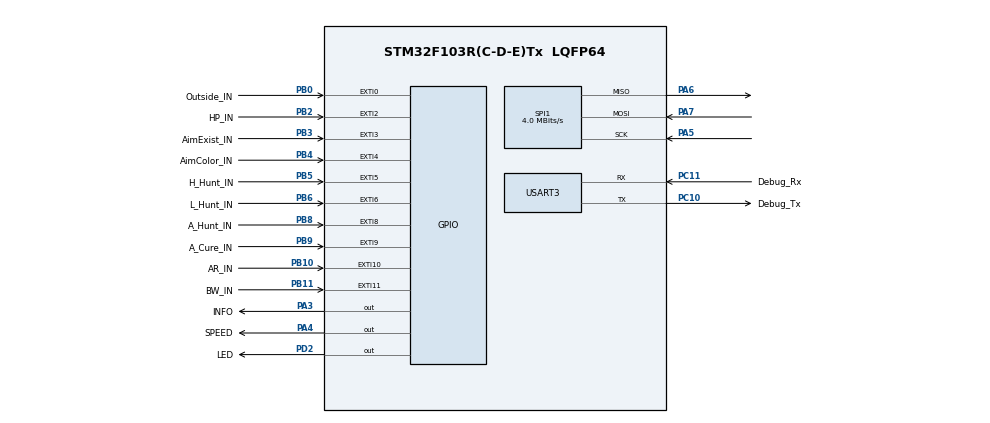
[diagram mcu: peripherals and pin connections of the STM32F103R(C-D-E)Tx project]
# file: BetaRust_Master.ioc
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Dma.Request0=SPI1_RX
Dma.Request1=SPI1_TX
Dma.SPI1_RX.0.Direction=DMA_PERIPH_TO_MEMORY
Dma.SPI1_RX.0.Instance=DMA1_Channel2
Dma.SPI1_RX.0.MemDataAlignment=DMA_MDATAALIGN_BYTE
Dma.SPI1_RX.0.MemInc=DMA_MINC_ENABLE
Dma.SPI1_RX.0.Mode=DMA_NORMAL
Dma.SPI1_RX.0.PeriphDataAlignment=DMA_PDATAALIGN_BYTE
Dma.SPI1_RX.0.PeriphInc=DMA_PINC_DISABLE
Dma.SPI1_RX.0.Priority=DMA_PRIORITY_LOW
Dma.SPI1_TX.1.Direction=DMA_MEMORY_TO_PERIPH
Dma.SPI1_TX.1.Instance=DMA1_Channel3
Dma.SPI1_TX.1.MemDataAlignment=DMA_MDATAALIGN_BYTE
Dma.SPI1_TX.1.MemInc=DMA_MINC_ENABLE
Dma.SPI1_TX.1.Mode=DMA_NORMAL
Dma.SPI1_TX.1.PeriphDataAlignment=DMA_PDATAALIGN_BYTE
Dma.SPI1_TX.1.PeriphInc=DMA_PINC_DISABLE
Dma.SPI1_TX.1.Priority=DMA_PRIORITY_LOW
Mcu.Family=STM32F1
Mcu.Name=STM32F103R(C-D-E)Tx
Mcu.Package=LQFP64
NVIC.DMA1_Channel2_IRQn=true\:0\:0\:false\:false\:true
NVIC.DMA1_Channel3_IRQn=true\:0\:0\:false\:false\:true
NVIC.PriorityGroup=NVIC_PRIORITYGROUP_4
PA13.Mode=Serial_Wire
PA13.Signal=SYS_JTMS-SWDIO
PA14.Mode=Serial_Wire
PA14.Signal=SYS_JTCK-SWCLK
PA3.GPIO_Label=INFO
PA3.Signal=GPIO_Output
PA4.GPIO_Label=SPEED
PA4.Signal=GPIO_Output
PA5.Mode=Full_Duplex_Slave
PA5.Signal=SPI1_SCK
PA6.Mode=Full_Duplex_Slave
PA6.Signal=SPI1_MISO
PA7.Mode=Full_Duplex_Slave
PA7.Signal=SPI1_MOSI
PB0.GPIO_Label=Outside_IN
PB0.Signal=GPXTI0
PB10.GPIO_Label=AR_IN
PB10.Signal=GPXTI10
PB11.GPIO_Label=BW_IN
PB11.Signal=GPXTI11
PB2.GPIO_Label=HP_IN
PB2.Signal=GPXTI2
PB3.GPIO_Label=AimExist_IN
PB3.Signal=GPXTI3
PB4.GPIO_Label=AimColor_IN
PB4.Signal=GPXTI4
PB5.GPIO_Label=H_Hunt_IN
PB5.Signal=GPXTI5
PB6.GPIO_Label=L_Hunt_IN
PB6.Signal=GPXTI6
PB8.GPIO_Label=A_Hunt_IN
PB8.Signal=GPXTI8
PB9.GPIO_Label=A_Cure_IN
PB9.Signal=GPXTI9
PC10.GPIO_Label=Debug_Tx
PC10.Mode=Asynchronous
PC10.Signal=USART3_TX
PC11.GPIO_Label=Debug_Rx
PC11.Mode=Asynchronous
PC11.Signal=USART3_RX
PD2.GPIO_Label=LED
PD2.Signal=GPIO_Output
ProjectManager.HeapSize=0x200
ProjectManager.StackSize=0x400
ProjectManager.TargetToolchain=MDK-ARM V5
RCC.APB1Freq_Value=8000000
RCC.APB2Freq_Value=8000000
SPI1.CalculateBaudRate=4.0 MBits/s
SPI1.VirtualType=VM_SLAVE
board=BetaRust_Master

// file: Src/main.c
/**
  ******************************************************************************
  * File Name          : main.c
  * Description        : Main program body
  ******************************************************************************
  *
  * COPYRIGHT(c) 2016 STMicroelectronics
  *
  * Redistribution and use in source and binary forms, with or without modification,
  * are permitted provided that the following conditions are met:
  *   1. Redistributions of source code must retain the above copyright notice,
  *      this list of conditions and the following disclaimer.
  *   2. Redistributions in binary form must reproduce the above copyright notice,
  *      this list of conditions and the following disclaimer in the documentation
  *      and/or other materials provided with the distribution.
  *   3. Neither the name of STMicroelectronics nor the names of its contributors
  *      may be used to endorse or promote products derived from this software
  *      without specific prior written permission.
  *
  * THIS SOFTWARE IS PROVIDED BY THE COPYRIGHT HOLDERS AND CONTRIBUTORS "AS IS"
  * AND ANY EXPRESS OR IMPLIED WARRANTIES, INCLUDING, BUT NOT LIMITED TO, THE
  * IMPLIED WARRANTIES OF MERCHANTABILITY AND FITNESS FOR A PARTICULAR PURPOSE ARE
  * DISCLAIMED. IN NO EVENT SHALL THE COPYRIGHT HOLDER OR CONTRIBUTORS BE LIABLE
  * FOR ANY DIRECT, INDIRECT, INCIDENTAL, SPECIAL, EXEMPLARY, OR CONSEQUENTIAL
  * DAMAGES (INCLUDING, BUT NOT LIMITED TO, PROCUREMENT OF SUBSTITUTE GOODS OR
  * SERVICES; LOSS OF USE, DATA, OR PROFITS; OR BUSINESS INTERRUPTION) HOWEVER
  * CAUSED AND ON ANY THEORY OF LIABILITY, WHETHER IN CONTRACT, STRICT LIABILITY,
  * OR TORT (INCLUDING NEGLIGENCE OR OTHERWISE) ARISING IN ANY WAY OUT OF THE USE
  * OF THIS SOFTWARE, EVEN IF ADVISED OF THE POSSIBILITY OF SUCH DAMAGE.
  *
  ******************************************************************************
  */
#include "stm32f1xx_hal.h"
#include "dma.h"
#include "spi.h"
#include "usart.h"
#include "gpio.h"

/* USER CODE BEGIN Includes */
#undef TRUE
#undef FALSE
#define TRUE GPIO_PIN_SET
#define FALSE GPIO_PIN_RESET
#undef BOOL
#define BOOL GPIO_PinState

#define _READ_(X) HAL_GPIO_ReadPin(GPIOB,X)
#define A_CURE _READ_(A_Cure_IN_Pin)
#define A_HURT _READ_(A_Hunt_IN_Pin)
#define L_HURT _READ_(L_Hunt_IN_Pin)
#define H_HURT _READ_(H_Hunt_IN_Pin)
#define COLOR  _READ_(AimColor_IN_Pin)
#define EXIST  _READ_(AimExist_IN_Pin)
#define OUT    _READ_(Outside_IN_Pin)
#define HP     _READ_(HP_IN_Pin)
#define BW     _READ_(BW_IN_Pin)
#define AIR    _READ_(AR_IN_Pin)
/* USER CODE END Includes */

/* USER CODE BEGIN PV */
/* Private variables ---------------------------------------------------------*/
uint8_t _speed[4]={0xAB,0,0,0xCD};
uint8_t _buffer[17];
typedef struct _Point{
	signed int x,y;
}Point;
typedef struct _Player{
	Point pos;
	uint8_t hp;
}Player;
typedef struct _Status{
	Player me;
	Player opponent;
	Point aim;
	Point plane;
	Point tools;
	Point vec;
	uint8_t valid;
}Status;

/* USER CODE END PV */

void SystemClock_Config(void);
void Error_Handler(void);

/* USER CODE BEGIN PFP */
/* Private function prototypes -----------------------------------------------*/
void SetSpeed(signed int,signed int);
Status GetStatus(void);
void HAL_SPI_RxCpltCallBack(SPI_HandleTypeDef *hspi);
void HAL_SPI_TxCpltCallBack(SPI_HandleTypeDef *hspi);
/* USER CODE END PFP */

int main(void)
{

  /* MCU Configuration----------------------------------------------------------*/

  /* Reset of all peripherals, Initializes the Flash interface and the Systick. */
  HAL_Init();

  /* Configure the system clock */
  SystemClock_Config();

  /* Initialize all configured peripherals */
  MX_GPIO_Init();
  MX_DMA_Init();
  MX_SPI1_Init();
  MX_USART3_UART_Init();

  /* USER CODE BEGIN 2 */
A_CURE;
A_HURT;
L_HURT;
H_HURT;
COLOR;
EXIST;
OUT  ;
HP   ;
BW   ;
AIR   ;
  /* USER CODE END 2 */

  /* Infinite loop */
  while (1)
  {
		Status now = GetStatus();

		// test
		uint8_t data[100];
		data[0] = now.me.pos.x;	// 11
		data[1] = now.me.pos.y;	// 22
		data[2] = now.me.hp;  // 99
		data[3] = now.opponent.pos.x;	// 33
		data[4] = now.opponent.pos.y;	// 44
    data[5] = now.aim.x;	// 55
		data[6] = now.aim.y;	// 66
		data[7] = now.plane.x; // 77
		data[8] = now.plane.y; // 88
		data[9] = now.tools.x;	// BB
		data[10] = now.tools.y;	// CC
		data[11] = now.valid;//01
		data[12] = now.vec.x;//00
		data[13] = now.vec.y;//00
		data[14] = data[15] = 0;

		HAL_UART_Transmit(&huart3, data, 14, 10);

		HAL_Delay(500);

		// HAL_UART_Transmit(&huart3,....);
  }

}

/** System Clock Configuration
*/
void SystemClock_Config(void)
{

  RCC_OscInitTypeDef RCC_OscInitStruct;
  RCC_ClkInitTypeDef RCC_ClkInitStruct;

  RCC_OscInitStruct.OscillatorType = RCC_OSCILLATORTYPE_HSI;
  RCC_OscInitStruct.HSIState = RCC_HSI_ON;
  RCC_OscInitStruct.HSICalibrationValue = 16;
  RCC_OscInitStruct.PLL.PLLState = RCC_PLL_NONE;
  if (HAL_RCC_OscConfig(&RCC_OscInitStruct) != HAL_OK)
  {
    Error_Handler();
  }

  RCC_ClkInitStruct.ClockType = RCC_CLOCKTYPE_HCLK|RCC_CLOCKTYPE_SYSCLK
                              |RCC_CLOCKTYPE_PCLK1|RCC_CLOCKTYPE_PCLK2;
  RCC_ClkInitStruct.SYSCLKSource = RCC_SYSCLKSOURCE_HSI;
  RCC_ClkInitStruct.AHBCLKDivider = RCC_SYSCLK_DIV1;
  RCC_ClkInitStruct.APB1CLKDivider = RCC_HCLK_DIV1;
  RCC_ClkInitStruct.APB2CLKDivider = RCC_HCLK_DIV1;
  if (HAL_RCC_ClockConfig(&RCC_ClkInitStruct, FLASH_LATENCY_0) != HAL_OK)
  {
    Error_Handler();
  }

  HAL_SYSTICK_Config(HAL_RCC_GetHCLKFreq()/1000);

  HAL_SYSTICK_CLKSourceConfig(SYSTICK_CLKSOURCE_HCLK);

  /* SysTick_IRQn interrupt configuration */
  HAL_NVIC_SetPriority(SysTick_IRQn, 0, 0);
}

/* USER CODE BEGIN 4 */
void SetSpeed(signed int l,signed int r){
	HAL_GPIO_WritePin(GPIOA,SPEED_Pin,GPIO_PIN_SET);
	_speed[1]=l+128;_speed[2]=r+128;
	HAL_SPI_Transmit_DMA(&hspi1,_speed,4);
	HAL_GPIO_WritePin(GPIOA,SPEED_Pin,GPIO_PIN_RESET);
}
Status GetStatus(void){
	HAL_GPIO_WritePin(GPIOA,INFO_Pin,GPIO_PIN_SET);
	HAL_SPI_Receive_DMA(&hspi1,_buffer,17);
	Status now;
	if(_buffer[0]==0xAB&&_buffer[13]==0xCD&&_buffer[16]==0xEF){
		HAL_GPIO_TogglePin(GPIOD,LED_Pin);
		now.me.pos.x=_buffer[1];
		now.me.pos.y=_buffer[2];
		now.opponent.pos.x=_buffer[3];
		now.opponent.pos.y=_buffer[4];
		now.aim.x=_buffer[5];
		now.aim.y=_buffer[6];
		now.plane.x=_buffer[7];
		now.plane.y=_buffer[8];
		now.me.hp=_buffer[9];
		now.opponent.hp=_buffer[10];
		now.tools.x=_buffer[11];
		now.tools.y=_buffer[12];
		now.vec.x=_buffer[14];
		now.vec.y=_buffer[15];
		now.valid=1;
	}
	else{
		now.valid=0;
	}
	HAL_GPIO_WritePin(GPIOA,INFO_Pin,GPIO_PIN_RESET);
	return now;
}
void HAL_SPI_RxCpltCallBack(SPI_HandleTypeDef *hspi){
	hspi->State = HAL_SPI_STATE_READY;
}
void HAL_SPI_TxCpltCallBack(SPI_HandleTypeDef *hspi){
	hspi->State = HAL_SPI_STATE_READY;
}
/* USER CODE END 4 */

void Error_Handler(void)
{
  while(1)
  {
  }
}

/************************ (C) COPYRIGHT STMicroelectronics *****END OF FILE****/
